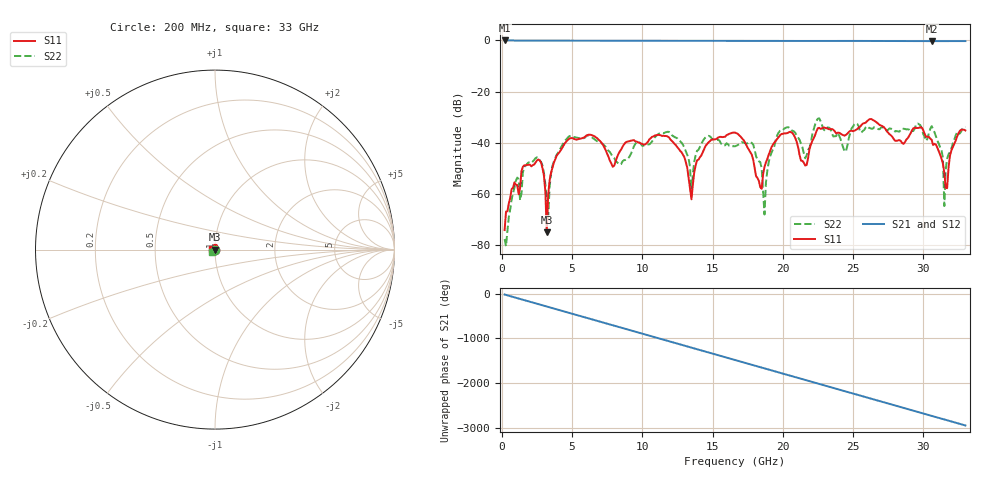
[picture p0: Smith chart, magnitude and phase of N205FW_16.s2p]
# GHZ S RI R 50
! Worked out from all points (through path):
!   329 points, 200 MHz to 33 GHz, reference 50 ohm
!   highest |S21| = -0.02 dB at 200 MHz (marker M1); lowest = -0.3 dB at 30.6 GHz (marker M2)
!   group delay of S21, straight-line fit = 248 ps
!   lowest |S11| = -75.0 dB at 3.2 GHz (marker M3), VSWR 1.00, Z = 50 + j0.00919 ohm
!   |S11| at or under -10 dB: start of sweep to end of sweep
!   |S22| runs from -80.5 to -30.5 dB; largest |S21 - S12| = 0.0022
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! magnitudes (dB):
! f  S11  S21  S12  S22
! 200 MHz  -74.2  0.0  0.0  -77.7
! 1.1 GHz  -56.6  0.0  0.0  -53.6
! 2.6 GHz  -46.5  -0.1  -0.1  -46.3
! 3 GHz  -52.9  -0.1  -0.1  -51.8
! 3.2 GHz  -75.0  -0.1  -0.1  -61.7
! 3.7 GHz  -47.9  -0.1  -0.1  -47.5
! 5.7 GHz  -38.3  -0.1  -0.1  -38.5
! 11.2 GHz  -37.0  -0.2  -0.2  -36.4
! 12.9 GHz  -44.7  -0.2  -0.2  -40.8
! 13.5 GHz  -62.1  -0.2  -0.2  -61.1
! 14.4 GHz  -42.5  -0.2  -0.2  -38.6
! 16.6 GHz  -36.0  -0.2  -0.2  -41.4
! 17.9 GHz  -46.8  -0.2  -0.2  -40.8
! 18.7 GHz  -49.5  -0.2  -0.2  -68.1
! 19.7 GHz  -37.8  -0.2  -0.2  -36.1
! 22.1 GHz  -39.3  -0.2  -0.2  -36.8
! 27.6 GHz  -36.7  -0.2  -0.2  -34.4
! 30.6 GHz  -38.9  -0.3  -0.3  -33.5
! 31.4 GHz  -48.2  -0.3  -0.3  -46.0
! 31.5 GHz  -51.7  -0.3  -0.3  -64.8
! 31.7 GHz  -57.8  -0.3  -0.3  -46.2
! 33 GHz  -35.2  -0.3  -0.3  -33.8
